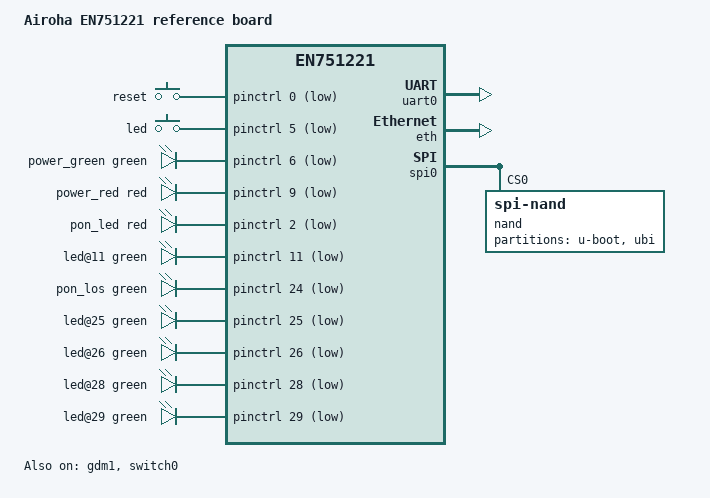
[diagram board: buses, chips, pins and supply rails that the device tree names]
// SPDX-License-Identifier: GPL-2.0+
/dts-v1/;

#include "econet,en751221.dtsi"

/ {
	model = "Airoha EN751221 reference board";
	compatible = "econet,en751221-reference", "econet,en751221";

	chosen {
		stdout-path = "serial0:115200n8";
	};

	keys {
		compatible = "gpio-keys-polled";

		reset {
			label = "reset";
			linux,code = <KEY_RESTART>;
			gpios = <&pinctrl 0 GPIO_ACTIVE_LOW>;
			debounce-interval = <60>;
		};

		wps5 {
			label = "led";
			linux,code = <BTN_0>;
			gpios = <&pinctrl 5 GPIO_ACTIVE_LOW>;
			debounce-interval = <60>;
		};
	};

	leds {
		compatible = "gpio-leds";

		/* Power Green */
		power_green: led@6 {
			color = <LED_COLOR_ID_GREEN>;
			function = LED_FUNCTION_STATUS;
			function-enumerator = <6>;
			gpios = <&pinctrl 6 GPIO_ACTIVE_LOW>;
		};

		/* Power Red */
		power_red: led@9 {
			color = <LED_COLOR_ID_RED>;
			function = LED_FUNCTION_STATUS;
			function-enumerator = <9>;
			gpios = <&pinctrl 9 GPIO_ACTIVE_LOW>;
		};

		/* xPON/Internet */
		pon_led: led@2 {
			color = <LED_COLOR_ID_RED>;
			function = LED_FUNCTION_STATUS;
			function-enumerator = <2>;
			gpios = <&pinctrl 2 GPIO_ACTIVE_LOW>;
		};

		/* USB */
		led@11 {
			color = <LED_COLOR_ID_GREEN>;
			function = LED_FUNCTION_USB;
			function-enumerator = <11>;
			gpios = <&pinctrl 11 GPIO_ACTIVE_LOW>;
		};

		/* AUTH */
		pon_los: led@24 {
			color = <LED_COLOR_ID_GREEN>;
			function = LED_FUNCTION_STATUS;
			function-enumerator = <24>;
			gpios = <&pinctrl 24 GPIO_ACTIVE_LOW>;
		};

		/* FXS1 */
		led@25 {
			color = <LED_COLOR_ID_GREEN>;
			function = LED_FUNCTION_STATUS;
			function-enumerator = <25>;
			gpios = <&pinctrl 25 GPIO_ACTIVE_LOW>;
		};

		/* FXS2 */
		led@26 {
			color = <LED_COLOR_ID_GREEN>;
			function = LED_FUNCTION_STATUS;
			function-enumerator = <26>;
			gpios = <&pinctrl 26 GPIO_ACTIVE_LOW>;
		};

		/* Internet */
		led@28 {
			color = <LED_COLOR_ID_GREEN>;
			function = LED_FUNCTION_STATUS;
			function-enumerator = <28>;
			gpios = <&pinctrl 28 GPIO_ACTIVE_LOW>;
		};

		/* VoIP */
		led@29 {
			color = <LED_COLOR_ID_GREEN>;
			function = LED_FUNCTION_STATUS;
			function-enumerator = <29>;
			gpios = <&pinctrl 29 GPIO_ACTIVE_LOW>;
		};
	};
};

&uart0 {
	status = "okay";
};

&eth {
	status = "okay";
};

&gdm1 {
	status = "okay";
};

&switch0 {
	status = "okay";
};


&spi0 {
	status = "okay";

	nand: nand@0 {
		compatible = "spi-nand";
		reg = <0>;

		partitions {
			compatible = "fixed-partitions";
			#address-cells = <1>;
			#size-cells = <1>;
	
			partition@0 {
				label = "u-boot";
				reg = <0x000000 0x100000>;
			};
	
			partition@100000 {
				label = "ubi";
				reg = <0x100000 0x000000>;
			};
		};
	};
};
